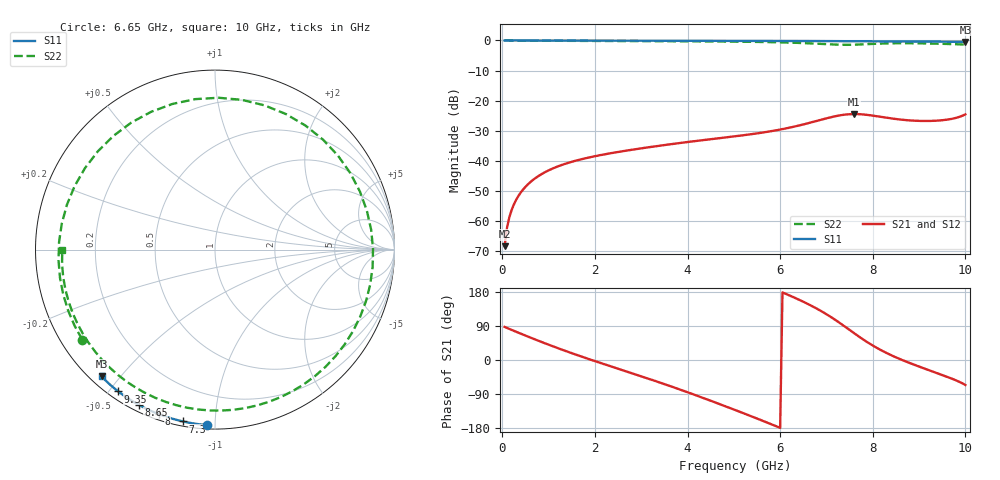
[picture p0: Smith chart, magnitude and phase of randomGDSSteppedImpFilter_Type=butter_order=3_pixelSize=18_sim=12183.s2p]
! freq	dB(S11)	phase(S11)	dB(S12)	phase(S12)
!  dB(S21)	phase(S21)	dB(S22)	phase(S22)
!S-par simulation data
#  GHz  S  DB  R 50
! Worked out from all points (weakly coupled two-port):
!   200 points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, 50 MHz to 10 GHz, reference 50 ohm
!   highest |S21| = -24.49 dB at 7.6 GHz (marker M1); lowest = -68.5 dB at 50 MHz (marker M2)
!   lowest |S11| = -0.5 dB at 10 GHz (marker M3), VSWR 37.07, Z = 1.62 - j22.3 ohm
!   |S11| at or under -10 dB: nowhere
!   |S22| runs from -1.5 to 0.0 dB; largest |S21 - S12| = 0
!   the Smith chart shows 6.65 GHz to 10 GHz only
!   S11 on the Smith chart (normalised r, x): 6.65 GHz: 0.02, -0.96; 7.3 GHz: 0.02, -0.83; 8 GHz: 0.02, -0.72; 8.65 GHz: 0.03, -0.62; 9.35 GHz: 0.03, -0.53; 10 GHz: 0.03, -0.45
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0.05  -0.00 -0.8  -68.46 87.3  -68.46 87.3  -0.00 -4.4
0.15  -0.00 -2.3  -58.96 82.1  -58.96 82.1  -0.02 -13.1
0.3  -0.01 -4.6  -53.02 74.5  -53.02 74.5  -0.04 -26.1
0.9  -0.02 -13.6  -44.03 45.1  -44.03 45.1  -0.10 -76.3
1.75  -0.03 -26.2  -39.37 7.4  -39.37 7.4  -0.15 -141.5
2.5  -0.05 -37.2  -37.11 -23.0  -37.11 -23.0  -0.19 165.3
3.4  -0.07 -50.0  -35.02 -59.4  -35.02 -59.4  -0.24 102.3
3.85  -0.08 -56.2  -34.09 -78.5  -34.09 -78.5  -0.27 70.4
4.35  -0.09 -63.0  -33.14 -100.7  -33.14 -100.7  -0.31 34.7
5.05  -0.11 -72.3  -31.85 -133.0  -31.85 -133.0  -0.39 -15.2
5.95  -0.15 -83.9  -29.80 -176.6  -29.80 -176.6  -0.61 -81.7
6.3  -0.17 -88.3  -28.69 165.1  -28.69 165.1  -0.76 -111.1
6.65  -0.19 -92.6  -27.36 144.7  -27.36 144.7  -0.98 -145.9
6.7  -0.19 -93.2  -27.15 141.5  -27.15 141.5  -1.01 -151.5
7  -0.21 -96.9  -25.91 120.8  -25.91 120.8  -1.25 170.3
7.3  -0.23 -100.5  -24.90 96.7  -24.90 96.7  -1.44 123.4
7.6  -0.25 -104.0  -24.49 70.5  -24.49 70.5  -1.41 71.1
8  -0.28 -108.7  -25.01 38.2  -25.01 38.2  -1.14 7.2
8.35  -0.30 -112.8  -25.83 15.4  -25.83 15.4  -0.96 -36.2
8.65  -0.32 -116.2  -26.41 -0.8  -26.41 -0.8  -0.92 -66.0
9.35  -0.39 -124.3  -26.72 -32.9  -26.72 -32.9  -1.06 -123.6
10  -0.47 -131.8  -24.59 -66.0  -24.59 -66.0  -1.40 -179.7
